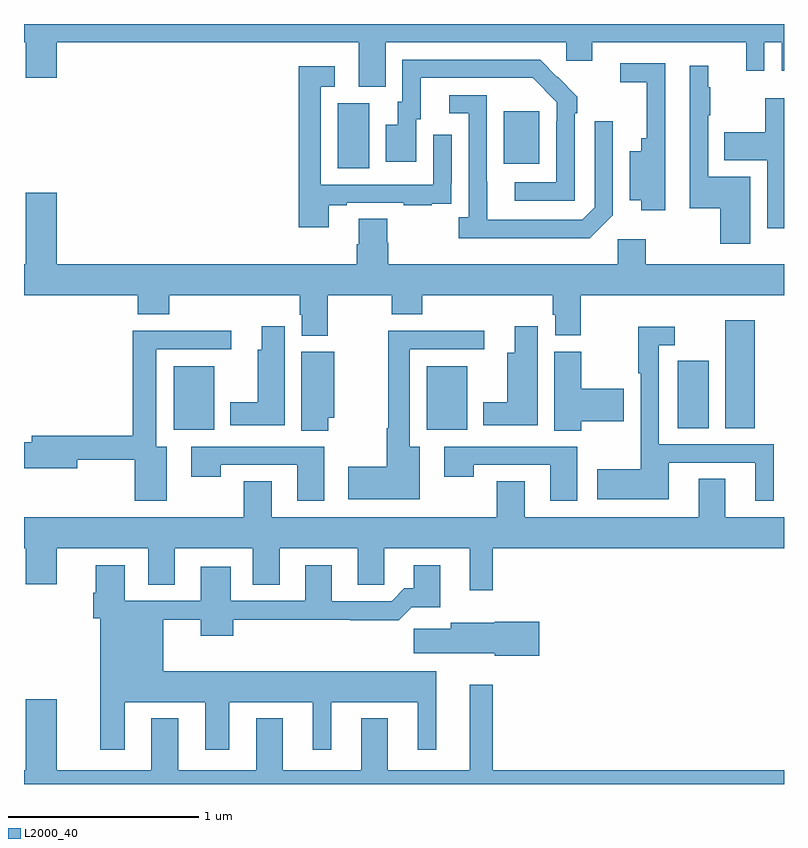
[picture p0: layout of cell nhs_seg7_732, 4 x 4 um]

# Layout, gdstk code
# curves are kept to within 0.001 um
import gdstk
lib = gdstk.Library(unit=1e-6, precision=1e-09)
def R(c, l, rs):  # rectangles x0, y0, x1, y1
    for r in rs: c.add(gdstk.rectangle(r[:2], r[2:], *l))
def P(c, l, *ps):  # polygons
    for p in ps: c.add(gdstk.Polygon(p, *l))
L2000_40 = (2000, 40)

nhs_seg7_732 = lib.new_cell('nhs_seg7_732')
R(nhs_seg7_732, L2000_40, [(165.788,1043.864,166,1044.199), (167.12,1043.864,167.332,1044.199), (168.44,1043.872,168.604,1044.228), (168.692,1043.872,168.847,1044.442), (166.652,1045.24,166.816,1045.584), (167.525,1045.265,167.713,1045.54)])
P(nhs_seg7_732, L2000_40, [(166.903,1045.904),(167.853,1045.904),(167.853,1045.806),(167.992,1045.806),(167.992,1045.904),(168.8,1045.904),(168.8,1045.755),(168.897,1045.755),(168.897,1045.904),(168.987,1045.904),(168.987,1045.755),(169,1045.755),(169,1046),(165,1046),(165,1045.904),(165.008,1045.904),(165.008,1045.716),(165.172,1045.716),(165.172,1045.904),(166.763,1045.904),(166.763,1045.669),(166.903,1045.669)],
  [(167.898,1045.529),(167.913,1045.529),(167.913,1045.617),(167.716,1045.812),(166.992,1045.812),(166.992,1045.59),(166.967,1045.59),(166.967,1045.471),(166.904,1045.471),(166.904,1045.275),(167.065,1045.275),(167.065,1045.5),(167.089,1045.5),(167.089,1045.716),(167.677,1045.716),(167.805,1045.587),(167.805,1045.487),(167.802,1045.487),(167.802,1045.167),(167.583,1045.167),(167.583,1045.071),(167.898,1045.071)],
  [(168.376,1045.295),(168.375,1045.295),(168.375,1045.794),(168.138,1045.794),(168.138,1045.693),(168.278,1045.693),(168.278,1045.399),(168.248,1045.399),(168.248,1045.33),(168.188,1045.33),(168.188,1045.073),(168.248,1045.073),(168.248,1045.019),(168.376,1045.019)],
  [(168.823,1045.195),(168.6,1045.195),(168.6,1045.519),(168.613,1045.519),(168.613,1045.667),(168.602,1045.667),(168.602,1045.78),(168.504,1045.78),(168.504,1045.03),(168.665,1045.03),(168.665,1044.843),(168.823,1044.843)],
  [(166.603,1045.047),(166.699,1045.047),(166.699,1045.059),(166.999,1045.059),(166.999,1045.047),(167.147,1045.047),(167.147,1045.053),(167.249,1045.053),(167.249,1045.162),(167.25,1045.162),(167.25,1045.417),(167.154,1045.417),(167.154,1045.155),(166.563,1045.155),(166.563,1045.671),(166.636,1045.671),(166.636,1045.777),(166.447,1045.777),(166.447,1044.93),(166.603,1044.93)],
  [(168.099,1044.993),(168.099,1045.489),(168.003,1045.489),(168.003,1045.035),(167.937,1044.969),(167.437,1044.969),(167.436,1045.626),(167.238,1045.626),(167.238,1045.53),(167.34,1045.53),(167.34,1044.982),(167.289,1044.982),(167.289,1044.872),(167.978,1044.872)],
  [(169,1045.609),(168.9,1045.609),(168.9,1045.43),(168.685,1045.43),(168.685,1045.283),(168.912,1045.283),(168.912,1044.924),(169,1044.924)],
  [(166.599,1044.572),(166.936,1044.572),(166.936,1044.473),(167.096,1044.473),(167.096,1044.572),(167.783,1044.572),(167.783,1044.471),(167.795,1044.471),(167.795,1044.361),(167.931,1044.361),(167.931,1044.572),(169,1044.572),(169,1044.736),(168.273,1044.736),(168.273,1044.868),(168.126,1044.868),(168.126,1044.736),(166.916,1044.736),(166.916,1044.849),(166.911,1044.849),(166.911,1044.974),(166.763,1044.974),(166.763,1044.842),(166.751,1044.842),(166.751,1044.736),(165.172,1044.736),(165.172,1045.111),(165.008,1045.111),(165.008,1044.736),(165,1044.736),(165,1044.572),(165.599,1044.572),(165.599,1044.473),(165.764,1044.473),(165.764,1044.572),(166.451,1044.572),(166.451,1044.471),(166.463,1044.471),(166.463,1044.359),(166.599,1044.359)],
  [(166.372,1044.409),(166.25,1044.409),(166.25,1044.285),(166.229,1044.285),(166.229,1044.01),(166.085,1044.01),(166.085,1043.888),(166.372,1043.888)],
  [(167.704,1044.409),(167.582,1044.409),(167.582,1044.271),(167.543,1044.271),(167.543,1044.01),(167.417,1044.01),(167.417,1043.888),(167.704,1043.888)],
  [(168.946,1043.787),(168.342,1043.787),(168.342,1044.309),(168.424,1044.309),(168.424,1044.406),(168.234,1044.406),(168.234,1044.163),(168.246,1044.163),(168.246,1043.656),(168.018,1043.656),(168.018,1043.498),(168.394,1043.498),(168.394,1043.691),(168.848,1043.691),(168.848,1043.49),(168.946,1043.49)],
  [(165.751,1043.776),(165.697,1043.776),(165.697,1044.288),(166.09,1044.288),(166.09,1044.386),(165.572,1044.386),(165.572,1043.834),(165.041,1043.834),(165.041,1043.798),(165,1043.798),(165,1043.663),(165.28,1043.663),(165.28,1043.706),(165.584,1043.706),(165.584,1043.49),(165.751,1043.49)],
  [(167.083,1043.776),(167.029,1043.776),(167.029,1044.288),(167.422,1044.288),(167.422,1044.386),(166.916,1044.386),(166.916,1043.872),(166.909,1043.872),(166.909,1043.669),(166.707,1043.669),(166.707,1043.498),(167.083,1043.498)],
  [(167.934,1043.909),(168.157,1043.909),(168.157,1044.08),(167.934,1044.08),(167.934,1044.276),(167.792,1044.276),(167.792,1043.86),(167.934,1043.86)],
  [(166.602,1043.927),(166.633,1043.927),(166.633,1044.274),(166.46,1044.274),(166.46,1043.86),(166.602,1043.86)],
  [(167.911,1043.775),(167.211,1043.775),(167.211,1043.616),(167.367,1043.616),(167.367,1043.679),(167.771,1043.679),(167.771,1043.49),(167.911,1043.49)],
  [(166.579,1043.775),(165.879,1043.775),(165.879,1043.616),(166.035,1043.616),(166.035,1043.679),(166.439,1043.679),(166.439,1043.49),(166.579,1043.49)],
  [(167.467,1043.24),(169,1043.24),(169,1043.404),(168.691,1043.404),(168.691,1043.606),(168.551,1043.606),(168.551,1043.404),(167.635,1043.404),(167.635,1043.594),(167.488,1043.594),(167.488,1043.404),(166.303,1043.404),(166.303,1043.594),(166.156,1043.594),(166.156,1043.404),(165,1043.404),(165,1043.24),(165.008,1043.24),(165.008,1043.052),(165.172,1043.052),(165.172,1043.24),(165.653,1043.24),(165.653,1043.05),(165.793,1043.05),(165.793,1043.24),(166.205,1043.24),(166.205,1043.05),(166.345,1043.05),(166.345,1043.24),(166.757,1043.24),(166.757,1043.05),(166.896,1043.05),(166.896,1043.24),(167.345,1043.24),(167.345,1043.019),(167.467,1043.019)],
  [(165.529,1042.43),(165.953,1042.43),(165.953,1042.179),(166.081,1042.179),(166.081,1042.43),(166.52,1042.43),(166.52,1042.179),(166.618,1042.179),(166.618,1042.43),(167.072,1042.43),(167.072,1042.179),(167.17,1042.179),(167.17,1042.594),(165.733,1042.594),(165.733,1042.864),(165.929,1042.864),(165.929,1042.781),(166.1,1042.781),(166.1,1042.864),(166.717,1042.864),(166.717,1042.862),(166.973,1042.862),(167.042,1042.931),(167.191,1042.931),(167.191,1043.152),(167.051,1043.152),(167.051,1043.029),(167.002,1043.029),(166.935,1042.962),(166.621,1042.962),(166.621,1043.152),(166.481,1043.152),(166.481,1042.965),(166.087,1042.965),(166.087,1043.143),(165.929,1043.143),(165.929,1042.965),(165.529,1042.965),(165.529,1043.152),(165.377,1043.152),(165.377,1043.006),(165.365,1043.006),(165.365,1042.872),(165.401,1042.872),(165.401,1042.179),(165.529,1042.179)],
  [(167.713,1042.853),(167.478,1042.853),(167.478,1042.849),(167.246,1042.849),(167.246,1042.817),(167.052,1042.817),(167.052,1042.688),(167.478,1042.688),(167.478,1042.676),(167.713,1042.676)],
  [(169,1042.072),(167.467,1042.072),(167.467,1042.522),(167.345,1042.522),(167.345,1042.072),(166.915,1042.072),(166.915,1042.345),(166.775,1042.345),(166.775,1042.072),(166.363,1042.072),(166.363,1042.345),(166.223,1042.345),(166.223,1042.072),(165.811,1042.072),(165.811,1042.345),(165.671,1042.345),(165.671,1042.072),(165.172,1042.072),(165.172,1042.447),(165.008,1042.447),(165.008,1042.072),(165,1042.072),(165,1042),(169,1042)])

lib.write_gds('nhs_seg7_732.gds')
